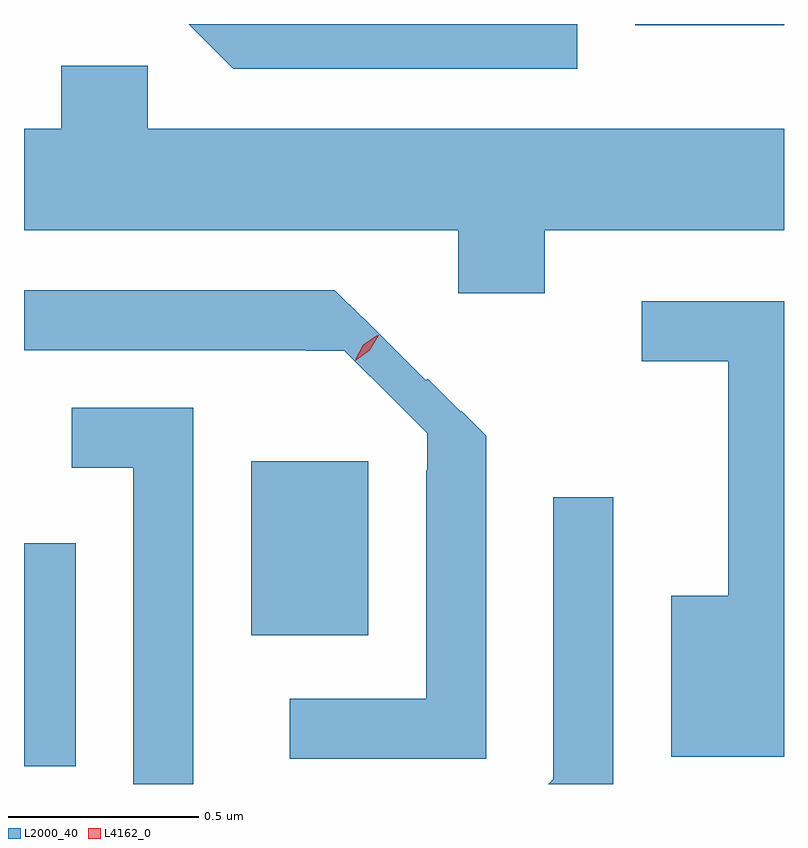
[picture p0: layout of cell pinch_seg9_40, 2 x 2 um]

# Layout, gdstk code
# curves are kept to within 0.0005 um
import gdstk
lib = gdstk.Library(unit=1e-6, precision=1e-09)
def R(c, l, rs):  # rectangles x0, y0, x1, y1
    for r in rs: c.add(gdstk.rectangle(r[:2], r[2:], *l))
def P(c, l, *ps):  # polygons
    for p in ps: c.add(gdstk.Polygon(p, *l))
L2000_40 = (2000, 40)
L4162_0 = (4162, 0)

pinch_seg9_40 = lib.new_cell('pinch_seg9_40')
R(pinch_seg9_40, L2000_40, [(1031.193,2008.166,1031.329,2008.753), (1031.791,2008.511,1032.099,2008.969), (1032.801,2010.116,1033.193,2010.119)])
P(pinch_seg9_40, L2000_40, [(1032.649,2010.119),(1031.626,2010.119),(1031.744,2010.001),(1032.649,2010.001)],
  [(1032.564,2009.576),(1033.193,2009.576),(1033.193,2009.844),(1031.519,2009.844),(1031.519,2010.009),(1031.291,2010.009),(1031.291,2009.844),(1031.193,2009.844),(1031.193,2009.576),(1032.336,2009.576),(1032.336,2009.411),(1032.564,2009.411)],
  [(1032.409,2009.036),(1032.344,2009.101),(1032.342,2009.099),(1032.255,2009.186),(1032.25,2009.182),(1032.011,2009.419),(1031.193,2009.419),(1031.193,2009.261),(1031.935,2009.261),(1031.935,2009.259),(1032.036,2009.259),(1032.254,2009.042),(1032.254,2008.945),(1032.251,2008.945),(1032.251,2008.344),(1031.892,2008.344),(1031.892,2008.186),(1032.409,2008.186)],
  [(1033.193,2009.389),(1032.818,2009.389),(1032.818,2009.231),(1033.046,2009.231),(1033.046,2008.614),(1032.896,2008.614),(1032.896,2008.191),(1033.193,2008.191)],
  [(1031.639,2009.109),(1031.318,2009.109),(1031.318,2008.951),(1031.481,2008.951),(1031.481,2008.119),(1031.639,2008.119)],
  [(1032.744,2008.873),(1032.586,2008.873),(1032.586,2008.132),(1032.573,2008.119),(1032.744,2008.119)])
P(pinch_seg9_40, L4162_0, [(1032.064,2009.231),(1032.064,2009.232),(1032.088,2009.273),(1032.126,2009.301),(1032.127,2009.301),(1032.127,2009.3),(1032.103,2009.26),(1032.064,2009.231)],
  [(1032.066,2009.237),(1032.066,2009.238),(1032.086,2009.275),(1032.12,2009.299),(1032.121,2009.299),(1032.121,2009.298),(1032.101,2009.261),(1032.066,2009.237)])

lib.write_gds('pinch_seg9_40.gds')
